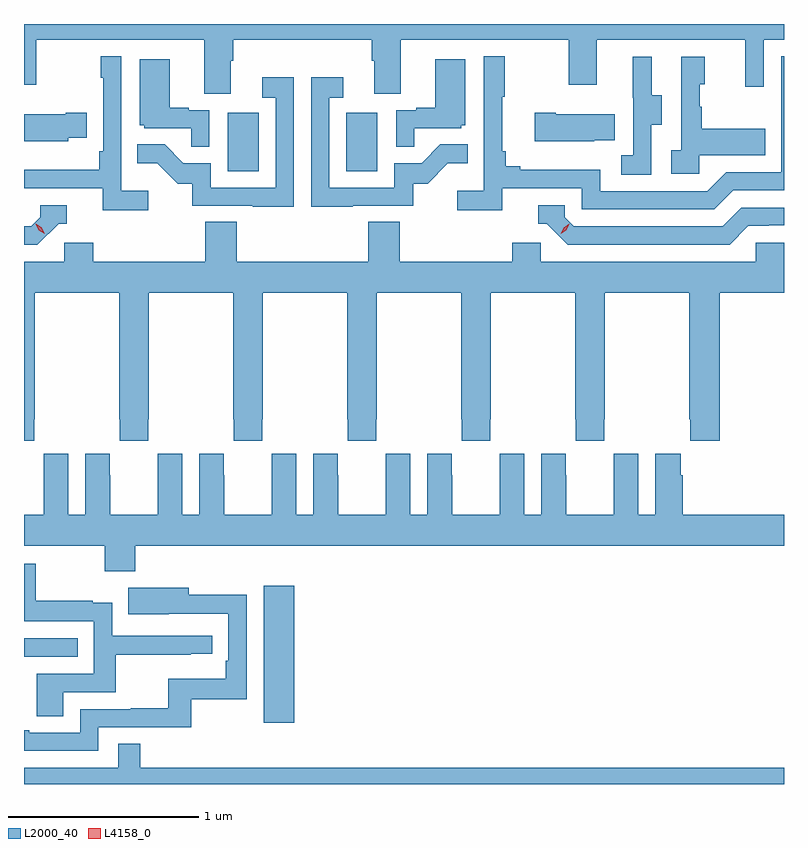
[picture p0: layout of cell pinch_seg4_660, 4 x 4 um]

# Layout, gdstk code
import gdstk
lib = gdstk.Library(unit=1e-6, precision=1e-09)
def R(c, l, rs):  # rectangles x0, y0, x1, y1
    for r in rs: c.add(gdstk.rectangle(r[:2], r[2:], *l))
def P(c, l, *ps):  # polygons
    for p in ps: c.add(gdstk.Polygon(p, *l))
L2000_40 = (2000, 40)
L4158_0 = (4158, 0)

pinch_seg4_660 = lib.new_cell('pinch_seg4_660')
R(pinch_seg4_660, L2000_40, [(1116.599,759.924,1116.76,760.645), (1115.338,760.272,1115.621,760.368), (1116.41,762.828,1116.574,763.135), (1117.034,762.828,1117.198,763.135)])
P(pinch_seg4_660, L2000_40, [(1115.338,763.281),(1115.403,763.281),(1115.403,763.52),(1116.287,763.52),(1116.287,763.234),(1116.427,763.234),(1116.427,763.408),(1116.44,763.408),(1116.44,763.52),(1117.169,763.52),(1117.169,763.408),(1117.181,763.408),(1117.181,763.234),(1117.321,763.234),(1117.321,763.52),(1118.206,763.52),(1118.206,763.281),(1118.353,763.281),(1118.353,763.52),(1119.134,763.52),(1119.134,763.272),(1119.231,763.272),(1119.231,763.52),(1119.338,763.52),(1119.338,763.602),(1115.338,763.602)],
  [(1115.992,762.724),(1115.85,762.724),(1115.85,763.432),(1115.742,763.432),(1115.742,763.319),(1115.754,763.319),(1115.754,762.931),(1115.734,762.931),(1115.734,762.835),(1115.338,762.835),(1115.338,762.738),(1115.753,762.738),(1115.753,762.622),(1115.992,762.622)],
  [(1117.856,762.738),(1118.274,762.738),(1118.274,762.627),(1118.971,762.627),(1119.07,762.726),(1119.338,762.726),(1119.338,763.431),(1119.324,763.431),(1119.324,762.822),(1119.033,762.822),(1118.934,762.723),(1118.37,762.723),(1118.37,762.835),(1117.951,762.835),(1117.951,762.854),(1117.874,762.854),(1117.874,762.931),(1117.855,762.931),(1117.855,763.219),(1117.867,763.219),(1117.867,763.432),(1117.758,763.432),(1117.758,762.724),(1117.617,762.724),(1117.617,762.622),(1117.856,762.622)],
  [(1118.64,763.072),(1118.695,763.072),(1118.695,763.227),(1118.641,763.227),(1118.641,763.429),(1118.543,763.429),(1118.543,763.215),(1118.544,763.215),(1118.544,762.911),(1118.481,762.911),(1118.481,762.808),(1118.64,762.808)],
  [(1118.892,762.911),(1119.239,762.911),(1119.239,763.051),(1118.905,763.051),(1118.905,763.166),(1118.895,763.166),(1118.895,763.284),(1118.92,763.284),(1118.92,763.429),(1118.796,763.429),(1118.796,762.938),(1118.745,762.938),(1118.745,762.813),(1118.892,762.813)],
  [(1116.312,763.149),(1116.206,763.149),(1116.206,763.162),(1116.106,763.162),(1116.106,763.417),(1115.948,763.417),(1115.948,763.068),(1115.97,763.068),(1115.97,763.053),(1116.217,763.053),(1116.217,762.955),(1116.312,762.955)],
  [(1117.391,763.053),(1117.638,763.053),(1117.638,763.068),(1117.66,763.068),(1117.66,763.417),(1117.502,763.417),(1117.502,763.162),(1117.403,763.162),(1117.403,763.149),(1117.296,763.149),(1117.296,762.955),(1117.391,762.955)],
  [(1116.759,763.321),(1116.591,763.321),(1116.591,763.215),(1116.663,763.215),(1116.663,762.741),(1116.321,762.741),(1116.321,762.87),(1116.177,762.87),(1116.079,762.968),(1115.935,762.968),(1115.935,762.869),(1116.039,762.869),(1116.146,762.762),(1116.223,762.762),(1116.223,762.645),(1116.541,762.645),(1116.541,762.64),(1116.759,762.64)],
  [(1117.067,762.645),(1117.386,762.645),(1117.386,762.762),(1117.462,762.762),(1117.569,762.869),(1117.673,762.869),(1117.673,762.968),(1117.529,762.968),(1117.431,762.87),(1117.287,762.87),(1117.287,762.741),(1116.945,762.741),(1116.945,763.215),(1117.018,763.215),(1117.018,763.321),(1116.849,763.321),(1116.849,762.64),(1117.067,762.64)],
  [(1118.339,762.989),(1118.447,762.989),(1118.447,763.126),(1118.137,763.126),(1118.137,763.134),(1118.025,763.134),(1118.025,762.986),(1118.339,762.986)],
  [(1115.571,763.004),(1115.669,763.004),(1115.669,763.134),(1115.558,763.134),(1115.558,763.126),(1115.338,763.126),(1115.338,762.986),(1115.571,762.986)],
  [(1115.52,762.552),(1115.563,762.552),(1115.563,762.648),(1115.424,762.648),(1115.424,762.585),(1115.376,762.537),(1115.338,762.537),(1115.338,762.441),(1115.409,762.441)],
  [(1119.151,762.54),(1119.258,762.54),(1119.258,762.543),(1119.338,762.543),(1119.338,762.636),(1119.114,762.636),(1119.015,762.537),(1118.232,762.537),(1118.184,762.585),(1118.184,762.648),(1118.045,762.648),(1118.045,762.552),(1118.088,762.552),(1118.199,762.441),(1119.052,762.441)],
  [(1115.391,761.521),(1115.394,761.521),(1115.394,762.188),(1115.839,762.188),(1115.839,761.521),(1115.841,761.521),(1115.841,761.409),(1115.991,761.409),(1115.991,761.521),(1115.994,761.521),(1115.994,762.188),(1116.439,762.188),(1116.439,761.521),(1116.441,761.521),(1116.441,761.409),(1116.591,761.409),(1116.591,761.521),(1116.594,761.521),(1116.594,762.188),(1117.039,762.188),(1117.039,761.521),(1117.041,761.521),(1117.041,761.409),(1117.191,761.409),(1117.191,761.521),(1117.194,761.521),(1117.194,762.188),(1117.639,762.188),(1117.639,761.521),(1117.641,761.521),(1117.641,761.409),(1117.791,761.409),(1117.791,761.521),(1117.794,761.521),(1117.794,762.188),(1118.239,762.188),(1118.239,761.521),(1118.241,761.521),(1118.241,761.409),(1118.391,761.409),(1118.391,761.521),(1118.394,761.521),(1118.394,762.188),(1118.839,762.188),(1118.839,761.521),(1118.845,761.521),(1118.845,761.409),(1118.999,761.409),(1118.999,762.188),(1119.338,762.188),(1119.338,762.45),(1119.189,762.45),(1119.189,762.352),(1118.058,762.352),(1118.058,762.45),(1117.907,762.45),(1117.907,762.352),(1117.316,762.352),(1117.316,762.56),(1117.151,762.56),(1117.151,762.352),(1116.458,762.352),(1116.458,762.56),(1116.293,762.56),(1116.293,762.352),(1115.702,762.352),(1115.702,762.45),(1115.55,762.45),(1115.55,762.352),(1115.338,762.352),(1115.338,761.409),(1115.391,761.409)],
  [(1115.791,761.228),(1115.79,761.228),(1115.79,761.341),(1115.66,761.341),(1115.66,761.02),(1115.572,761.02),(1115.572,761.341),(1115.442,761.341),(1115.442,761.228),(1115.441,761.228),(1115.441,761.02),(1115.338,761.02),(1115.338,760.856),(1115.764,760.856),(1115.764,760.721),(1115.924,760.721),(1115.924,760.856),(1119.338,760.856),(1119.338,761.02),(1118.804,761.02),(1118.804,761.228),(1118.794,761.228),(1118.794,761.341),(1118.66,761.341),(1118.66,761.02),(1118.572,761.02),(1118.572,761.341),(1118.442,761.341),(1118.442,761.228),(1118.441,761.228),(1118.441,761.02),(1118.191,761.02),(1118.191,761.228),(1118.19,761.228),(1118.19,761.341),(1118.06,761.341),(1118.06,761.02),(1117.972,761.02),(1117.972,761.341),(1117.842,761.341),(1117.842,761.228),(1117.841,761.228),(1117.841,761.02),(1117.591,761.02),(1117.591,761.228),(1117.59,761.228),(1117.59,761.341),(1117.46,761.341),(1117.46,761.02),(1117.372,761.02),(1117.372,761.341),(1117.242,761.341),(1117.242,761.228),(1117.241,761.228),(1117.241,761.02),(1116.991,761.02),(1116.991,761.228),(1116.99,761.228),(1116.99,761.341),(1116.86,761.341),(1116.86,761.02),(1116.772,761.02),(1116.772,761.341),(1116.642,761.341),(1116.642,761.228),(1116.641,761.228),(1116.641,761.02),(1116.391,761.02),(1116.391,761.228),(1116.39,761.228),(1116.39,761.341),(1116.26,761.341),(1116.26,761.02),(1116.172,761.02),(1116.172,761.341),(1116.042,761.341),(1116.042,761.228),(1116.041,761.228),(1116.041,761.02),(1115.791,761.02)],
  [(1115.545,760.086),(1115.822,760.086),(1115.822,760.282),(1116.215,760.282),(1116.215,760.287),(1116.328,760.287),(1116.328,760.383),(1115.802,760.383),(1115.802,760.555),(1115.699,760.555),(1115.699,760.567),(1115.401,760.567),(1115.401,760.761),(1115.338,760.761),(1115.338,760.458),(1115.706,760.458),(1115.706,760.182),(1115.405,760.182),(1115.405,759.958),(1115.545,759.958)],
  [(1115.73,759.9),(1116.217,759.9),(1116.217,760.047),(1116.51,760.047),(1116.51,760.598),(1116.205,760.598),(1116.205,760.636),(1115.887,760.636),(1115.887,760.496),(1116.101,760.496),(1116.101,760.497),(1116.414,760.497),(1116.414,760.252),(1116.401,760.252),(1116.401,760.156),(1116.096,760.156),(1116.096,760.001),(1115.899,760.001),(1115.899,759.996),(1115.634,759.996),(1115.634,759.873),(1115.365,759.873),(1115.365,759.886),(1115.338,759.886),(1115.338,759.777),(1115.73,759.777)],
  [(1119.338,759.688),(1115.951,759.688),(1115.951,759.815),(1115.835,759.815),(1115.835,759.688),(1115.338,759.688),(1115.338,759.602),(1119.338,759.602)])
P(pinch_seg4_660, L4158_0, [(1118.162,762.497),(1118.162,762.498),(1118.178,762.53),(1118.209,762.55),(1118.209,762.55),(1118.209,762.55),(1118.193,762.517),(1118.163,762.497)],
  [(1115.447,762.498),(1115.416,762.517),(1115.399,762.55),(1115.399,762.55),(1115.399,762.55),(1115.43,762.531),(1115.447,762.499),(1115.447,762.498)])

lib.write_gds('pinch_seg4_660.gds')
